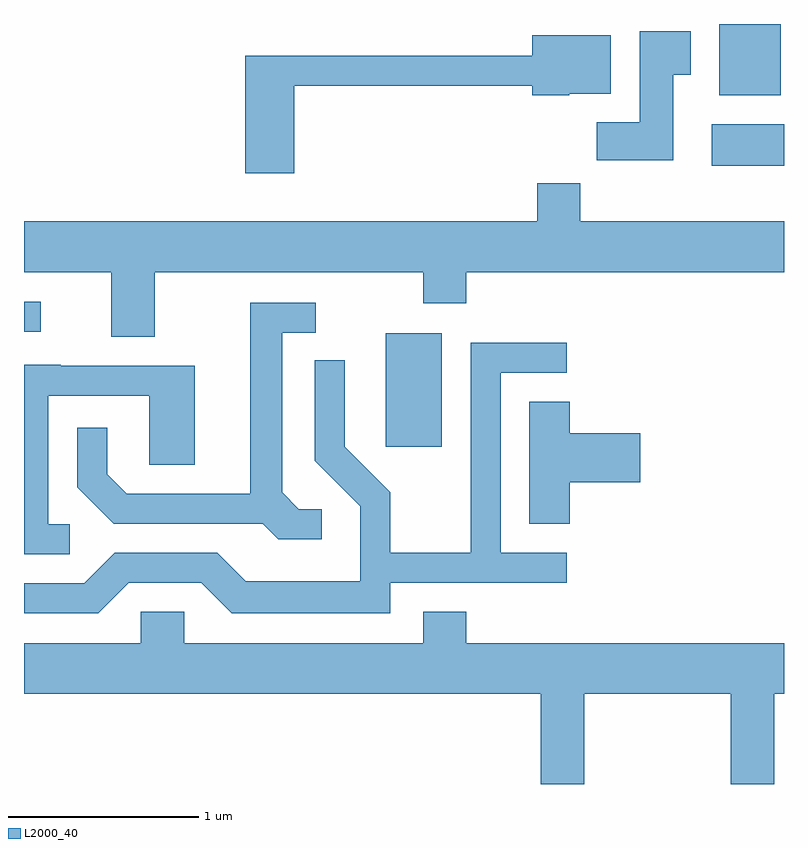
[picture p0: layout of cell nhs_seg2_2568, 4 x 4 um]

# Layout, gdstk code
import gdstk
lib = gdstk.Library(unit=1e-6, precision=1e-09)
def R(c, l, rs):  # rectangles x0, y0, x1, y1
    for r in rs: c.add(gdstk.rectangle(r[:2], r[2:], *l))
def P(c, l, *ps):  # polygons
    for p in ps: c.add(gdstk.Polygon(p, *l))
L2000_40 = (2000, 40)

nhs_seg2_2568 = lib.new_cell('nhs_seg2_2568')
R(nhs_seg2_2568, L2000_40, [(261.516,1089.576,261.809,1090.174), (259.611,1090.181,259.698,1090.339), (263.231,1091.056,263.611,1091.274), (263.271,1091.426,263.594,1091.802)])
P(nhs_seg2_2568, L2000_40, [(263.029,1091.536),(263.119,1091.536),(263.119,1091.764),(262.851,1091.764),(262.851,1091.284),(262.626,1091.284),(262.626,1091.086),(263.029,1091.086)],
  [(261.034,1091.476),(262.286,1091.476),(262.286,1091.426),(262.48,1091.426),(262.48,1091.436),(262.699,1091.436),(262.699,1091.744),(262.286,1091.744),(262.286,1091.634),(260.776,1091.634),(260.776,1091.016),(261.034,1091.016)],
  [(260.299,1090.496),(261.711,1090.496),(261.711,1090.331),(261.939,1090.331),(261.939,1090.496),(263.611,1090.496),(263.611,1090.764),(262.539,1090.764),(262.539,1090.964),(262.311,1090.964),(262.311,1090.764),(259.611,1090.764),(259.611,1090.496),(260.071,1090.496),(260.071,1090.156),(260.299,1090.156)],
  [(261.178,1089.249),(261.057,1089.249),(260.969,1089.337),(260.969,1090.176),(261.147,1090.176),(261.147,1090.334),(260.801,1090.334),(260.801,1089.329),(260.152,1089.329),(260.049,1089.432),(260.049,1089.678),(259.891,1089.678),(259.891,1089.364),(260.084,1089.171),(260.868,1089.171),(260.949,1089.091),(261.178,1089.091)],
  [(260.162,1088.861),(260.544,1088.861),(260.704,1088.701),(261.539,1088.701),(261.539,1088.861),(262.468,1088.861),(262.468,1089.019),(262.119,1089.019),(262.119,1089.966),(262.468,1089.966),(262.468,1090.124),(261.961,1090.124),(261.961,1089.019),(261.539,1089.019),(261.539,1089.337),(261.299,1089.577),(261.299,1090.033),(261.141,1090.033),(261.141,1089.504),(261.381,1089.264),(261.381,1088.869),(260.777,1088.869),(260.627,1089.019),(260.089,1089.019),(259.929,1088.859),(259.611,1088.859),(259.611,1088.701),(260.002,1088.701)],
  [(259.853,1089.169),(259.739,1089.169),(259.739,1089.846),(260.271,1089.846),(260.271,1089.481),(260.509,1089.481),(260.509,1090.004),(259.805,1090.004),(259.805,1090.009),(259.611,1090.009),(259.611,1089.011),(259.853,1089.011)],
  [(262.484,1089.391),(262.854,1089.391),(262.854,1089.649),(262.484,1089.649),(262.484,1089.814),(262.271,1089.814),(262.271,1089.171),(262.484,1089.171)],
  [(262.559,1088.276),(263.331,1088.276),(263.331,1087.802),(263.559,1087.802),(263.559,1088.276),(263.611,1088.276),(263.611,1088.544),(261.939,1088.544),(261.939,1088.709),(261.711,1088.709),(261.711,1088.544),(260.454,1088.544),(260.454,1088.709),(260.226,1088.709),(260.226,1088.544),(259.611,1088.544),(259.611,1088.276),(262.331,1088.276),(262.331,1087.802),(262.559,1087.802)])

lib.write_gds('nhs_seg2_2568.gds')
